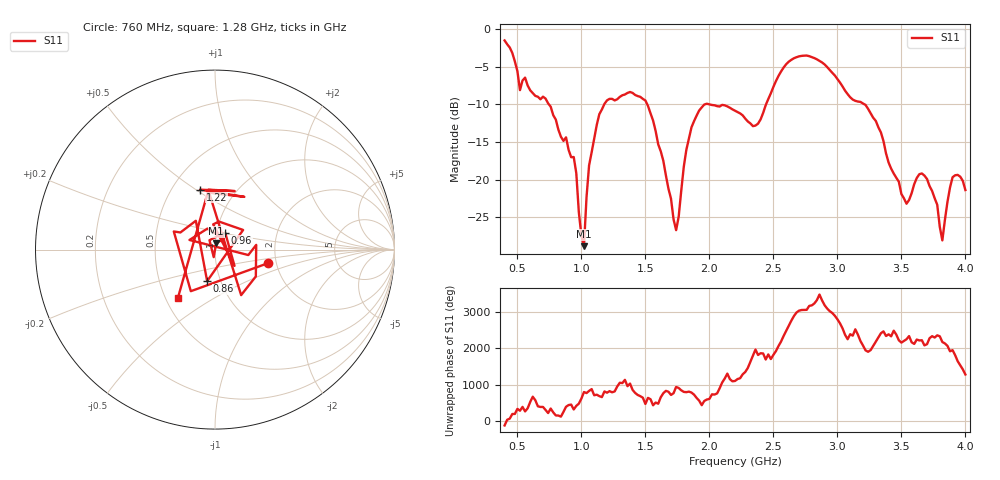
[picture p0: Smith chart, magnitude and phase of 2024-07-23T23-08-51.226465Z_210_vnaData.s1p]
!Created with skrf (http://scikit-rf.org).
# Hz S RI R 50.0
!freq ReS11 ImS11
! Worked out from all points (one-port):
!   181 points, 400 MHz to 4 GHz, reference 50 ohm
!   lowest |S11| = -28.8 dB at 1.02 GHz (marker M1), VSWR 1.08, Z = 50.5 + j3.61 ohm
!   |S11| at or under -10 dB: 1.515 GHz to 1.964 GHz (449.4 MHz wide, 25.8 % of centre); 2.001 GHz to 2.442 GHz (441.8 MHz wide, 19.9 % of centre); 3.212 GHz to end of sweep (the widest 3 of 4)
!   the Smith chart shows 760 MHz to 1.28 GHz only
!   S11 on the Smith chart (normalised r, x): 760 MHz: 1.81, -0.30; 860 MHz: 0.86, -0.31; 960 MHz: 1.10, +0.21; 1.22 GHz: 0.69, +0.52; 1.28 GHz: 0.58, -0.36
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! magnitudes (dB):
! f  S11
! 400 MHz  -1.5
! 520 MHz  -8.1
! 760 MHz  -10.3
! 860 MHz  -14.8
! 960 MHz  -19.1
! 1.02 GHz  -28.8
! 1.06 GHz  -18.1
! 1.14 GHz  -11.3
! 1.22 GHz  -9.3
! 1.28 GHz  -9.3
! 1.3 GHz  -9.0
! 1.5 GHz  -9.5
! 1.74 GHz  -26.7
! 1.76 GHz  -24.9
! 1.82 GHz  -16.0
! 1.92 GHz  -10.8
! 2.2 GHz  -10.8
! 2.38 GHz  -12.6
! 2.66 GHz  -3.9
! 2.88 GHz  -4.4
! 3.1 GHz  -9.1
! 3.3 GHz  -12.2
! 3.56 GHz  -22.7
! 3.68 GHz  -19.4
! 3.78 GHz  -23.3
! 3.82 GHz  -28.0
! 3.9 GHz  -19.7
! 4 GHz  -21.4
